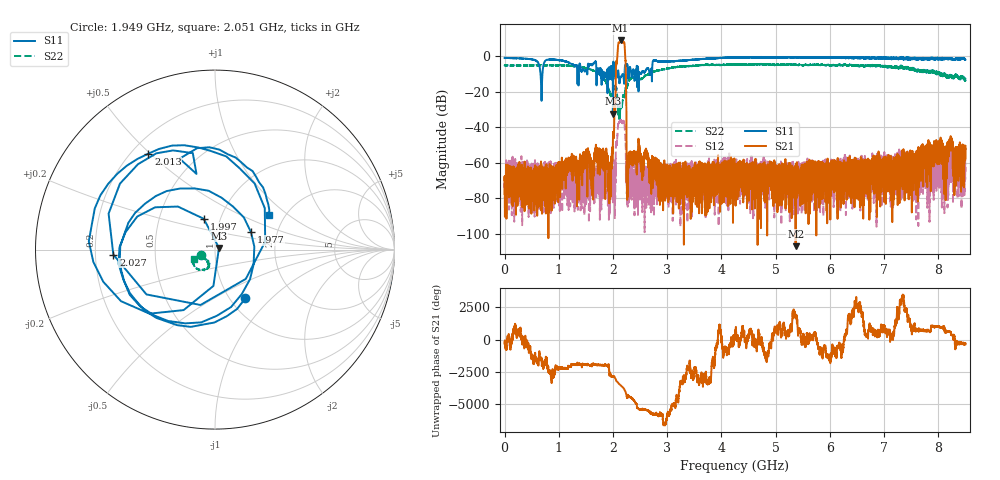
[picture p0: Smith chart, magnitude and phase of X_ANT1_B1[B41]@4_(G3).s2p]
#  HZ  S  RI  R  50.00
! Rohde & Schwarz Vector Network Analyzer
! Rohde-Schwarz,ZNBT8-20Port,1318700624101681,3.50
! Created: UTC 7/15/2025, 2:11:38 PM
! freq[Hz]  re:S1010  im:S1010  re:S0410  im:S0410  re:S1004  im:S1004  re:S44  im:S44
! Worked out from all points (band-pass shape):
!   8500 points, 1 MHz to 8.5 GHz, reference 50 ohm
!   highest |S21| = 8.93 dB at 2.141 GHz (marker M1); lowest = -106.9 dB at 5.369 GHz (marker M2)
!   |S21| within 3 dB of the highest: 2.094 GHz to 2.215 GHz (121.8 MHz wide, 5.65 % of centre)
!   lowest |S11| = -32.3 dB at 1.998 GHz (marker M3), VSWR 1.05, Z = 52.3 + j1.02 ohm
!   |S11| at or under -10 dB: 664 MHz to 698.7 MHz (34.71 MHz wide, 5.09 % of centre); 2.059 GHz to 2.084 GHz (25.22 MHz wide, 1.22 % of centre); 2.105 GHz to 2.213 GHz (107.9 MHz wide, 4.99 % of centre)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
!   |S22| runs from -35.6 to -4.2 dB; largest |S21 - S12| = 2.8
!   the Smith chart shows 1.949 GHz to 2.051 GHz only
!   S11 on the Smith chart (normalised r, x): 1.949 GHz: 1.17, -0.71; 1.977 GHz: 1.46, +0.30; 1.997 GHz: 0.83, +0.30; 2.013 GHz: 0.27, +0.49; 2.027 GHz: 0.28, -0.02; 2.051 GHz: 1.66, +0.72
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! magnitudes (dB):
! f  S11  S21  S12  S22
! 1 MHz  -0.9  -77.5  -71.6  -5.1
! 676 MHz  -18.1  -76.5  -70.7  -5.1
! 1.418 GHz  -8.4  -65.5  -71.3  -6.2
! 1.707 GHz  -6.7  -51.8  -64.0  -9.3
! 1.949 GHz  -9.9  -60.1  -77.6  -21.5
! 1.977 GHz  -13.0  -59.0  -64.7  -22.5
! 1.997 GHz  -14.8  -51.9  -70.8  -20.8
! 1.998 GHz  -32.3  -49.0  -70.3  -20.4
! 2.013 GHz  -3.7  -44.4  -70.1  -18.6
! 2.027 GHz  -4.9  -28.2  -75.1  -17.0
! 2.051 GHz  -9.0  -12.9  -59.0  -17.9
! 2.092 GHz  -8.4  5.3  -39.7  -30.5
! 2.141 GHz  -11.5  8.9  -35.6  -27.5
! 2.205 GHz  -15.1  7.7  -37.1  -22.1
! 2.292 GHz  -11.1  -54.2  -80.0  -14.2
! 2.61 GHz  -7.5  -55.2  -72.5  -10.7
! 2.834 GHz  -2.9  -62.5  -65.9  -8.0
! 4.251 GHz  -0.6  -67.1  -72.6  -4.6
! 5.369 GHz  -0.4  -106.9  -66.8  -4.6
! 5.667 GHz  -0.4  -68.8  -62.3  -4.7
! 7.084 GHz  -1.0  -61.8  -71.2  -5.8
! 8.5 GHz  -1.9  -50.5  -65.0  -13.2
